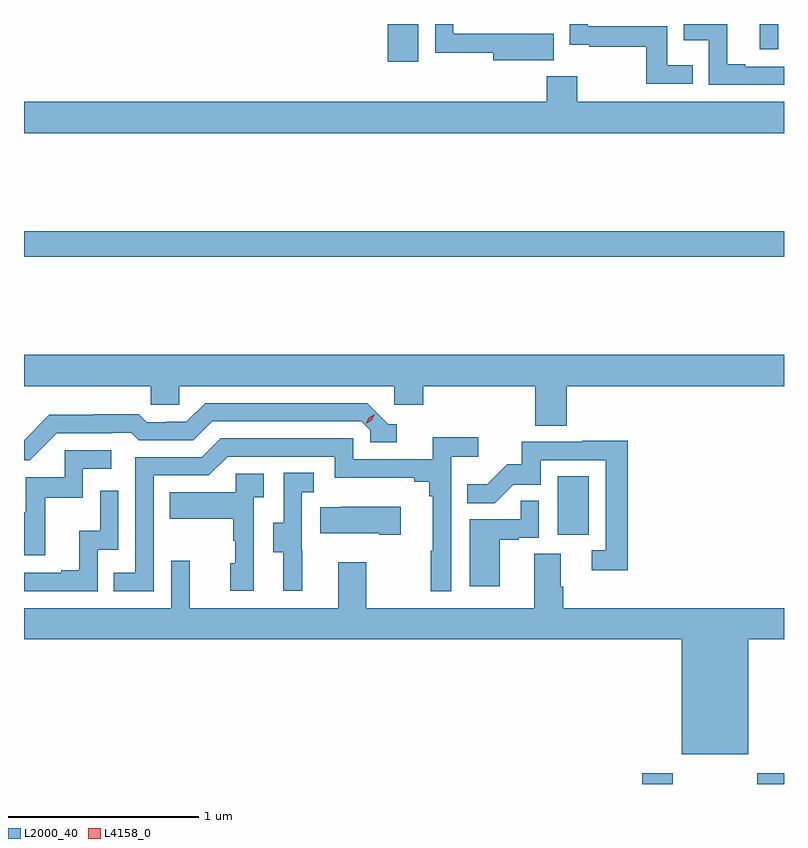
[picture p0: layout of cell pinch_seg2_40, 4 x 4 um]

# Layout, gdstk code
import gdstk
lib = gdstk.Library(unit=1e-6, precision=1e-09)
def R(c, l, rs):  # rectangles x0, y0, x1, y1
    for r in rs: c.add(gdstk.rectangle(r[:2], r[2:], *l))
def P(c, l, *ps):  # polygons
    for p in ps: c.add(gdstk.Polygon(p, *l))
L2000_40 = (2000, 40)
L4158_0 = (4158, 0)

pinch_seg2_40 = lib.new_cell('pinch_seg2_40')
R(pinch_seg2_40, L2000_40, [(1118.855,656.198,1119.015,656.254), (1119.46,656.198,1119.6,656.254), (1118.408,657.51,1118.572,657.817), (1115.6,658.972,1119.6,659.108), (1117.514,660,1117.675,660.198), (1119.473,660.066,1119.57,660.198)])
P(pinch_seg2_40, L2000_40, [(1118.387,660.148),(1118.173,660.148),(1118.173,660.147),(1117.86,660.147),(1117.86,660.198),(1117.764,660.198),(1117.764,660.046),(1118.069,660.046),(1118.069,660.008),(1118.387,660.008)],
  [(1119.119,659.98),(1118.985,659.98),(1118.985,660.186),(1118.568,660.186),(1118.568,660.198),(1118.472,660.198),(1118.472,660.089),(1118.575,660.089),(1118.575,660.078),(1118.874,660.078),(1118.874,659.883),(1119.119,659.883)],
  [(1119.6,659.973),(1119.397,659.973),(1119.397,659.986),(1119.301,659.986),(1119.301,660.198),(1119.072,660.198),(1119.072,660.113),(1119.204,660.113),(1119.204,659.877),(1119.6,659.877)],
  [(1119.6,659.788),(1118.511,659.788),(1118.511,659.923),(1118.351,659.923),(1118.351,659.788),(1115.6,659.788),(1115.6,659.624),(1119.6,659.624)],
  [(1118.456,658.292),(1119.6,658.292),(1119.6,658.456),(1115.6,658.456),(1115.6,658.292),(1116.267,658.292),(1116.267,658.194),(1116.417,658.194),(1116.417,658.292),(1117.548,658.292),(1117.548,658.194),(1117.7,658.194),(1117.7,658.292),(1118.291,658.292),(1118.291,658.084),(1118.456,658.084)],
  [(1115.772,658.044),(1116.065,658.044),(1116.065,658.047),(1116.164,658.047),(1116.203,658.008),(1116.492,658.008),(1116.591,658.107),(1117.374,658.107),(1117.422,658.059),(1117.422,657.996),(1117.561,657.996),(1117.561,658.092),(1117.518,658.092),(1117.407,658.203),(1116.554,658.203),(1116.455,658.104),(1116.348,658.104),(1116.348,658.101),(1116.245,658.101),(1116.203,658.144),(1115.97,658.144),(1115.97,658.141),(1115.734,658.141),(1115.6,658.007),(1115.6,657.903),(1115.631,657.903)],
  [(1116.282,657.822),(1116.573,657.822),(1116.672,657.921),(1117.236,657.921),(1117.236,657.809),(1117.655,657.809),(1117.655,657.79),(1117.732,657.79),(1117.732,657.713),(1117.751,657.713),(1117.751,657.425),(1117.74,657.425),(1117.74,657.213),(1117.848,657.213),(1117.848,657.92),(1117.99,657.92),(1117.99,658.022),(1117.751,658.022),(1117.751,657.906),(1117.332,657.906),(1117.332,658.017),(1116.635,658.017),(1116.536,657.918),(1116.186,657.918),(1116.186,657.309),(1116.073,657.309),(1116.073,657.213),(1116.282,657.213)],
  [(1118.777,658.004),(1118.539,658.004),(1118.539,657.999),(1118.221,657.999),(1118.221,657.882),(1118.144,657.882),(1118.037,657.775),(1117.933,657.775),(1117.933,657.676),(1118.077,657.676),(1118.175,657.774),(1118.319,657.774),(1118.319,657.903),(1118.661,657.903),(1118.661,657.429),(1118.589,657.429),(1118.589,657.324),(1118.777,657.324)],
  [(1115.711,657.705),(1115.91,657.705),(1115.91,657.858),(1116.058,657.858),(1116.058,657.954),(1115.814,657.954),(1115.814,657.813),(1115.609,657.813),(1115.609,657.627),(1115.6,657.627),(1115.6,657.402),(1115.711,657.402)],
  [(1117.064,657.429),(1117.062,657.429),(1117.062,657.733),(1117.126,657.733),(1117.126,657.836),(1116.966,657.836),(1116.966,657.573),(1116.911,657.573),(1116.911,657.418),(1116.965,657.418),(1116.965,657.216),(1117.064,657.216)],
  [(1116.81,657.707),(1116.862,657.707),(1116.862,657.831),(1116.714,657.831),(1116.714,657.733),(1116.367,657.733),(1116.367,657.593),(1116.702,657.593),(1116.702,657.479),(1116.712,657.479),(1116.712,657.36),(1116.686,657.36),(1116.686,657.216),(1116.81,657.216)],
  [(1115.988,657.432),(1116.096,657.432),(1116.096,657.742),(1116,657.742),(1116,657.53),(1115.891,657.53),(1115.891,657.322),(1115.795,657.322),(1115.795,657.309),(1115.6,657.309),(1115.6,657.213),(1115.988,657.213)],
  [(1118.104,657.483),(1118.204,657.483),(1118.204,657.495),(1118.31,657.495),(1118.31,657.689),(1118.215,657.689),(1118.215,657.591),(1117.946,657.591),(1117.946,657.24),(1118.104,657.24)],
  [(1117.582,657.658),(1117.267,657.658),(1117.267,657.655),(1117.159,657.655),(1117.159,657.518),(1117.469,657.518),(1117.469,657.511),(1117.582,657.511)],
  [(1117.253,657.364),(1117.253,657.124),(1116.473,657.124),(1116.473,657.373),(1116.375,657.373),(1116.375,657.124),(1115.6,657.124),(1115.6,656.96),(1119.062,656.96),(1119.062,656.354),(1119.412,656.354),(1119.412,656.96),(1119.6,656.96),(1119.6,657.124),(1118.438,657.124),(1118.438,657.236),(1118.425,657.236),(1118.425,657.41),(1118.285,657.41),(1118.285,657.124),(1117.401,657.124),(1117.401,657.364)])
P(pinch_seg2_40, L4158_0, [(1117.398,658.093),(1117.398,658.093),(1117.415,658.126),(1117.446,658.145),(1117.446,658.145),(1117.446,658.144),(1117.429,658.112),(1117.398,658.093)])

lib.write_gds('pinch_seg2_40.gds')
